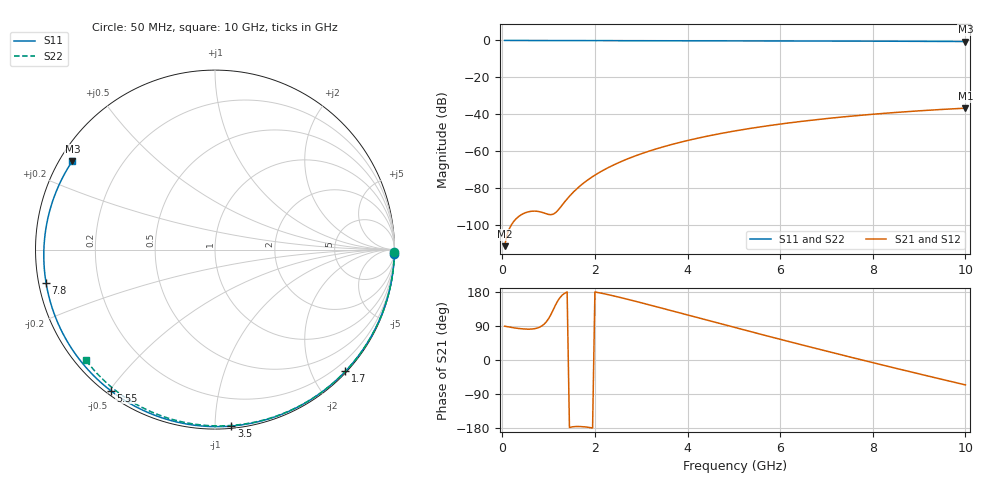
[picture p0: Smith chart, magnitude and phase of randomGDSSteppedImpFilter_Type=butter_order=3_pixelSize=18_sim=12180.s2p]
! freq	dB(S11)	phase(S11)	dB(S12)	phase(S12)
!  dB(S21)	phase(S21)	dB(S22)	phase(S22)
!S-par simulation data
#  GHz  S  DB  R 50
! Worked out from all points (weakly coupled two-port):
!   200 points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, 50 MHz to 10 GHz, reference 50 ohm
!   highest |S21| = -36.78 dB at 10 GHz (marker M1); lowest = -111.7 dB at 50 MHz (marker M2)
!   lowest |S11| = -0.6 dB at 10 GHz (marker M3), VSWR 30.03, Z = 1.8 + j14.3 ohm
!   |S11| at or under -10 dB: nowhere
!   |S22| runs from -0.5 to 0.0 dB; largest |S21 - S12| = 0
!   S11 on the Smith chart (normalised r, x): 50 MHz: 0, -88; 1.7 GHz: 0.02, -2.54; 3.5 GHz: 0.01, -1.10; 5.55 GHz: 0.01, -0.50; 7.8 GHz: 0.02, -0.10; 10 GHz: 0.04, +0.29
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0.05  -0.00 -1.3  -111.72 89.2  -111.72 89.2  -0.00 -0.8
0.4  -0.01 -10.3  -94.79 82.5  -94.79 82.5  -0.01 -6.4
0.8  -0.03 -20.6  -92.97 86.3  -92.97 86.3  -0.02 -12.8
1.6  -0.05 -40.6  -80.77 -175.5  -80.77 -175.5  -0.03 -25.5
1.65  -0.05 -41.8  -79.64 -175.5  -79.64 -175.5  -0.03 -26.3
1.7  -0.05 -43.0  -78.57 -175.7  -78.57 -175.7  -0.03 -27.0
1.75  -0.06 -44.3  -77.56 -176.1  -77.56 -176.1  -0.04 -27.8
2.05  -0.06 -51.5  -72.37 178.5  -72.37 178.5  -0.04 -32.5
2.45  -0.08 -61.0  -67.08 167.8  -67.08 167.8  -0.05 -38.6
2.9  -0.09 -71.3  -62.43 154.2  -62.43 154.2  -0.06 -45.4
3.4  -0.11 -82.5  -58.32 138.3  -58.32 138.3  -0.07 -52.9
3.5  -0.11 -84.7  -57.59 135.0  -57.59 135.0  -0.07 -54.4
4.25  -0.14 -100.6  -52.91 110.7  -52.91 110.7  -0.09 -65.2
5.05  -0.17 -116.8  -49.03 84.8  -49.03 84.8  -0.12 -76.5
5.55  -0.20 -126.6  -47.01 68.8  -47.01 68.8  -0.14 -83.3
6.15  -0.23 -138.0  -44.92 49.9  -44.92 49.9  -0.16 -91.3
6.7  -0.27 -148.4  -43.25 32.7  -43.25 32.7  -0.19 -98.5
7.25  -0.31 -158.6  -41.79 15.8  -41.79 15.8  -0.22 -105.5
7.8  -0.36 -168.9  -40.51 -1.0  -40.51 -1.0  -0.26 -112.4
8.35  -0.41 -179.3  -39.38 -17.5  -39.38 -17.5  -0.31 -119.2
9.2  -0.50 164.3  -37.90 -42.5  -37.90 -42.5  -0.38 -129.7
10  -0.58 148.1  -36.78 -65.7  -36.78 -65.7  -0.47 -139.4
